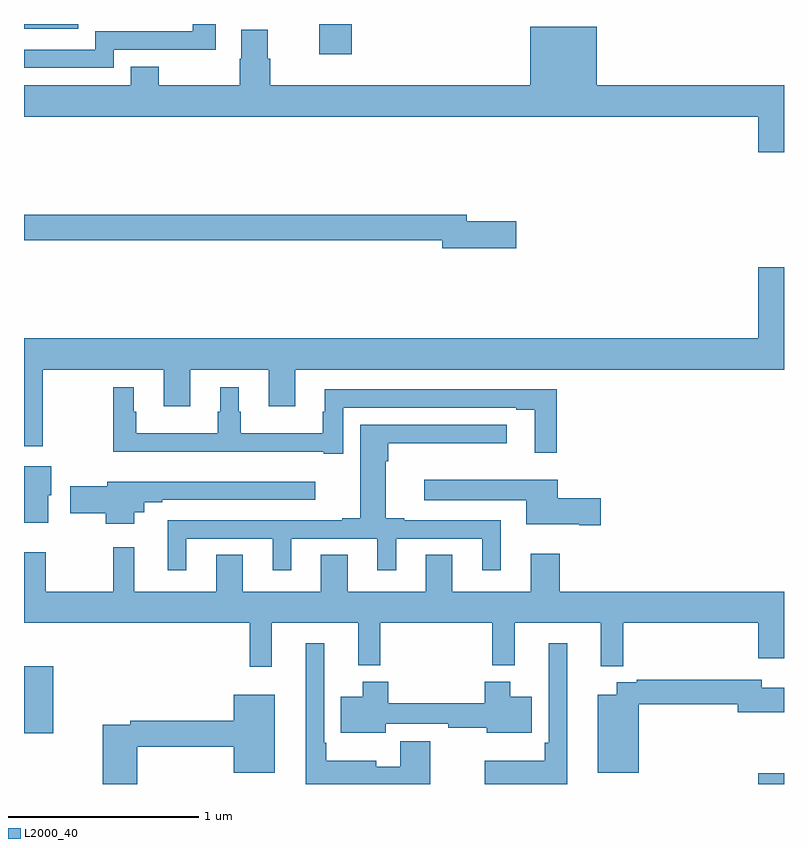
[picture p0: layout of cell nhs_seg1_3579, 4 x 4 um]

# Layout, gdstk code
import gdstk
lib = gdstk.Library(unit=1e-6, precision=1e-09)
def R(c, l, rs):  # rectangles x0, y0, x1, y1
    for r in rs: c.add(gdstk.rectangle(r[:2], r[2:], *l))
def P(c, l, *ps):  # polygons
    for p in ps: c.add(gdstk.Polygon(p, *l))
L2000_40 = (2000, 40)

nhs_seg1_3579 = lib.new_cell('nhs_seg1_3579')
R(nhs_seg1_3579, L2000_40, [(308.864,568.199,309,568.255), (305,568.466,305.153,568.819), (306.554,572.04,306.725,572.199), (305,572.175,305.286,572.199)])
P(nhs_seg1_3579, L2000_40, [(305.472,572.064),(305.797,572.064),(305.797,572.063),(306.01,572.063),(306.01,572.199),(305.888,572.199),(305.888,572.16),(305.376,572.16),(305.376,572.064),(305,572.064),(305,571.968),(305.472,571.968)],
  [(309,571.876),(308.014,571.876),(308.014,572.185),(307.664,572.185),(307.664,571.876),(306.296,571.876),(306.296,572.015),(306.283,572.015),(306.283,572.17),(306.143,572.17),(306.143,572.015),(306.136,572.015),(306.136,571.876),(305.709,571.876),(305.709,571.975),(305.561,571.975),(305.561,571.876),(305,571.876),(305,571.712),(308.864,571.712),(308.864,571.524),(309,571.524)],
  [(307.591,571.16),(307.33,571.16),(307.33,571.196),(305,571.196),(305,571.06),(307.202,571.06),(307.202,571.018),(307.591,571.018)],
  [(305.098,570.38),(305.735,570.38),(305.735,570.186),(305.875,570.186),(305.875,570.38),(306.287,570.38),(306.287,570.186),(306.427,570.186),(306.427,570.38),(309,570.38),(309,570.919),(308.864,570.919),(308.864,570.544),(305,570.544),(305,569.976),(305.098,569.976)],
  [(306.681,570.18),(307.592,570.18),(307.592,570.168),(307.688,570.168),(307.688,569.943),(307.805,569.943),(307.805,570.276),(306.584,570.276),(306.584,570.158),(306.573,570.158),(306.573,570.046),(306.142,570.046),(306.142,570.158),(306.13,570.158),(306.13,570.286),(306.032,570.286),(306.032,570.158),(306.021,570.158),(306.021,570.046),(305.59,570.046),(305.59,570.158),(305.578,570.158),(305.578,570.286),(305.469,570.286),(305.469,569.948),(306.578,569.948),(306.578,569.937),(306.681,569.937)],
  [(305.854,569.49),(306.308,569.49),(306.308,569.325),(306.406,569.325),(306.406,569.49),(306.86,569.49),(306.86,569.325),(306.958,569.325),(306.958,569.49),(307.412,569.49),(307.412,569.325),(307.51,569.325),(307.51,569.586),(307,569.586),(307,569.599),(306.904,569.599),(306.904,569.897),(306.917,569.897),(306.917,569.993),(307.54,569.993),(307.54,570.09),(306.77,570.09),(306.77,569.599),(306.674,569.599),(306.674,569.586),(305.756,569.586),(305.756,569.325),(305.854,569.325)],
  [(305.128,569.718),(305.143,569.718),(305.143,569.872),(305,569.872),(305,569.573),(305.128,569.573)],
  [(308.035,569.702),(307.81,569.702),(307.81,569.8),(307.107,569.8),(307.107,569.693),(307.643,569.693),(307.643,569.567),(307.922,569.567),(307.922,569.56),(308.035,569.56)],
  [(305.581,569.63),(305.632,569.63),(305.632,569.682),(305.728,569.682),(305.728,569.694),(306.532,569.694),(306.532,569.791),(305.438,569.791),(305.438,569.765),(305.244,569.765),(305.244,569.623),(305.431,569.623),(305.431,569.57),(305.581,569.57)],
  [(306.305,569.048),(306.758,569.048),(306.758,568.823),(306.875,568.823),(306.875,569.048),(307.465,569.048),(307.465,568.823),(307.583,568.823),(307.583,569.048),(308.036,569.048),(308.036,568.819),(308.153,568.819),(308.153,569.048),(308.864,569.048),(308.864,568.86),(309,568.86),(309,569.212),(307.82,569.212),(307.82,569.41),(307.667,569.41),(307.667,569.212),(307.255,569.212),(307.255,569.405),(307.115,569.405),(307.115,569.212),(306.703,569.212),(306.703,569.405),(306.563,569.405),(306.563,569.212),(306.151,569.212),(306.151,569.405),(306.011,569.405),(306.011,569.212),(305.579,569.212),(305.579,569.446),(305.469,569.446),(305.469,569.212),(305.115,569.212),(305.115,569.419),(305,569.419),(305,569.048),(306.187,569.048),(306.187,568.815),(306.305,568.815)],
  [(307.138,568.423),(306.98,568.423),(306.98,568.291),(306.853,568.291),(306.853,568.321),(306.592,568.321),(306.592,568.417),(306.579,568.417),(306.579,568.939),(306.482,568.939),(306.482,568.199),(307.138,568.199)],
  [(307.858,568.939),(307.761,568.939),(307.761,568.417),(307.741,568.417),(307.741,568.321),(307.424,568.321),(307.424,568.199),(307.858,568.199)],
  [(308.236,568.618),(308.756,568.618),(308.756,568.576),(309,568.576),(309,568.705),(308.884,568.705),(308.884,568.747),(308.224,568.747),(308.224,568.734),(308.12,568.734),(308.12,568.669),(308.021,568.669),(308.021,568.259),(308.236,568.259)],
  [(306.904,568.515),(307.234,568.515),(307.234,568.495),(307.436,568.495),(307.436,568.469),(307.672,568.469),(307.672,568.657),(307.558,568.657),(307.558,568.738),(307.424,568.738),(307.424,568.624),(306.917,568.624),(306.917,568.738),(306.782,568.738),(306.782,568.657),(306.668,568.657),(306.668,568.469),(306.904,568.469)],
  [(305.597,568.396),(306.104,568.396),(306.104,568.259),(306.319,568.259),(306.319,568.669),(306.104,568.669),(306.104,568.532),(305.56,568.532),(305.56,568.512),(305.414,568.512),(305.414,568.199),(305.597,568.199)])

lib.write_gds('nhs_seg1_3579.gds')
